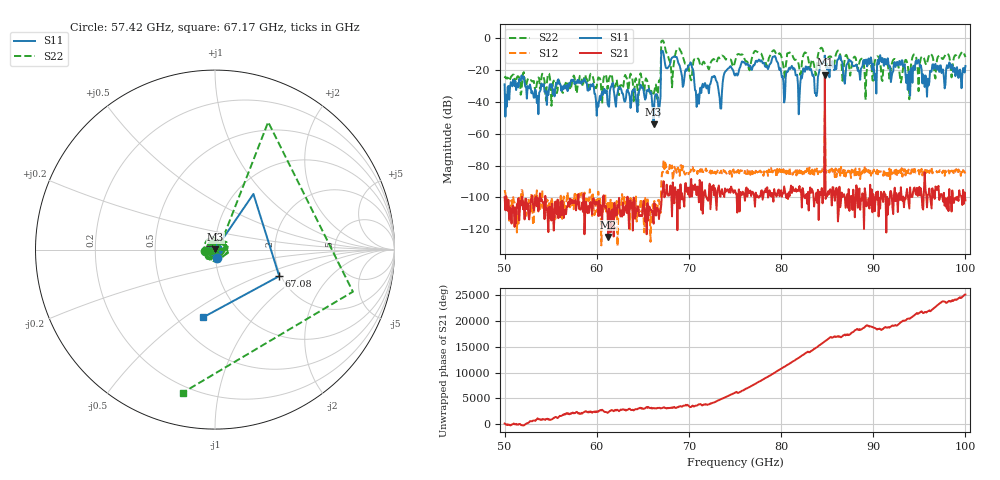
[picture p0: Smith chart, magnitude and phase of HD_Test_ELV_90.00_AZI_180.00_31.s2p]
! 11/25/2026 9:21:33 AM
! C:\ANRITSUVNA\TEMP\TEMP.S2P
! CHANNEL.1
! TR.MEASUREMENT
! RAW.DATA
# HZ S RI R 50.0
! FREQ.HZ  S11RE  S11IM  S21RE  S21IM  S12RE  S12IM  S22RE  S22IM
!; PortSelection: Port_12
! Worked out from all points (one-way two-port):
!   601 points, 50 GHz to 100 GHz, reference 50 ohm
!   highest |S21| = -23.16 dB at 84.75 GHz (marker M1); lowest = -124.7 dB at 61.25 GHz (marker M2)
!   lowest |S11| = -54.3 dB at 66.17 GHz (marker M3), VSWR 1.00, Z = 50.1 + j0.15 ohm
!   |S11| at or under -10 dB: start of sweep to 67 GHz; 67.24 GHz to end of sweep
!   |S22| runs from -42.6 to -1.8 dB; largest |S21 - S12| = 0.07
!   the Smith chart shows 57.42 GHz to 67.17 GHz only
!   S11 on the Smith chart (normalised r, x): 57.42 GHz: 1.02, -0.10; 67.08 GHz: 1.96, -0.68; 67.17 GHz: 0.67, -0.59
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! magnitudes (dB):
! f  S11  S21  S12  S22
! 50 GHz  -29.2  -99.8  -95.4  -25.4
! 57.42 GHz  -26.3  -103.5  -99.9  -25.2
! 58.42 GHz  -27.2  -103.2  -98.7  -29.0
! 61.25 GHz  -42.7  -124.7  -106.9  -29.1
! 66.17 GHz  -54.3  -116.4  -110.9  -35.4
! 66.67 GHz  -41.9  -107.4  -101.6  -32.1
! 67.08 GHz  -8.2  -97.0  -84.3  -1.9
! 67.17 GHz  -8.3  -95.3  -84.4  -1.8
! 70.17 GHz  -15.4  -94.6  -84.0  -25.7
! 70.92 GHz  -40.6  -93.1  -85.3  -13.3
! 75 GHz  -23.7  -95.5  -84.3  -15.0
! 79.25 GHz  -11.8  -94.8  -84.3  -7.9
! 80.25 GHz  -27.5  -97.5  -82.3  -17.6
! 83.42 GHz  -23.8  -95.8  -85.4  -13.7
! 83.83 GHz  -36.6  -97.0  -83.6  -19.5
! 84.75 GHz  -11.3  -23.2  -48.2  -11.7
! 91.67 GHz  -16.7  -100.9  -86.6  -20.5
! 93.75 GHz  -32.7  -98.7  -84.7  -17.3
! 94.83 GHz  -15.0  -99.0  -84.3  -20.3
! 95.83 GHz  -37.0  -106.2  -82.9  -15.9
! 96.58 GHz  -19.5  -95.9  -84.1  -16.9
! 100 GHz  -17.7  -101.8  -85.2  -12.2
